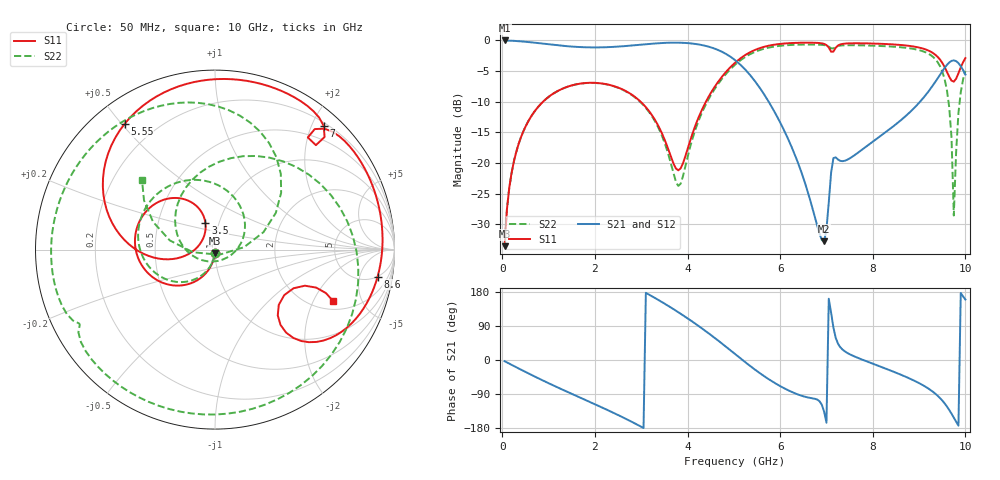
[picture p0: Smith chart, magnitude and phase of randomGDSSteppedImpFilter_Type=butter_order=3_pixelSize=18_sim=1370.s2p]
! freq	dB(S11)	phase(S11)	dB(S12)	phase(S12)
!  dB(S21)	phase(S21)	dB(S22)	phase(S22)
!S-par simulation data
#  GHz  S  DB  R 50
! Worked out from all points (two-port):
!   200 points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, 50 MHz to 10 GHz, reference 50 ohm
!   highest |S21| = -0.01 dB at 50 MHz (marker M1); lowest = -32.8 dB at 6.95 GHz (marker M2)
!   |S21| within 3 dB of the highest: start of sweep to 4.991 GHz
!   lowest |S11| = -33.5 dB at 50 MHz (marker M3), VSWR 1.04, Z = 49.8 - j2.1 ohm
!   |S11| at or under -10 dB: start of sweep to 879 MHz; 2.987 GHz to 4.397 GHz (1.409 GHz wide, 38.2 % of centre)
!   |S22| runs from -33.5 to -0.7 dB; largest |S21 - S12| = 0
!   S11 on the Smith chart (normalised r, x): 50 MHz: 1.00, -0.04; 3.5 GHz: 0.86, +0.26; 5.55 GHz: 0.09, +0.51; 7 GHz: 0.25, +2.19; 8.6 GHz: 5, -10; 10 GHz: 2.44, -2.88
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0.05  -33.54 -93.1  -0.01 -3.2  -0.01 -3.2  -33.54 -93.5
0.2  -21.62 -102.3  -0.05 -12.8  -0.05 -12.8  -21.62 -103.8
0.5  -14.07 -120.1  -0.22 -31.5  -0.22 -31.5  -14.08 -123.8
1.75  -6.98 174.7  -1.11 -103.0  -1.11 -103.0  -6.99 158.4
3.4  -14.39 108.7  -0.45 156.4  -0.45 156.4  -14.71 27.9
3.5  -16.08 109.8  -0.40 149.1  -0.40 149.1  -16.59 13.6
3.8  -21.17 149.4  -0.37 126.1  -0.37 126.1  -23.72 -76.1
4.25  -12.35 -167.4  -0.67 88.8  -0.67 88.8  -12.89 158.3
5.05  -3.48 156.7  -3.36 13.4  -3.36 13.4  -3.80 45.5
5.55  -1.28 125.7  -7.63 -33.8  -7.63 -33.8  -1.60 -19.2
6.1  -0.50 94.5  -14.90 -75.4  -14.90 -75.4  -0.81 -76.7
6.7  -0.37 64.8  -27.42 -101.2  -27.42 -101.2  -0.67 -124.4
6.95  -0.57 51.7  -32.75 -136.6  -32.75 -136.6  -0.76 -141.9
7  -0.75 48.6  -30.78 -165.5  -30.78 -165.5  -0.84 -145.4
7.15  -1.82 50.4  -19.18 85.8  -19.18 85.8  -1.30 -151.4
8.35  -0.61 0.5  -14.55 -26.1  -14.55 -26.1  -0.98 140.8
8.6  -0.74 -9.5  -13.05 -38.5  -13.05 -38.5  -1.11 126.4
9.5  -3.65 -48.5  -5.05 -106.8  -5.05 -106.8  -5.05 49.0
9.65  -5.91 -46.4  -3.60 -131.6  -3.60 -131.6  -10.84 19.8
9.75  -6.71 -33.3  -3.25 -152.0  -3.25 -152.0  -28.54 -50.2
9.85  -5.36 -21.9  -3.70 -173.2  -3.70 -173.2  -11.80 168.5
10  -2.88 -23.5  -5.57 159.6  -5.57 159.6  -4.98 136.2
